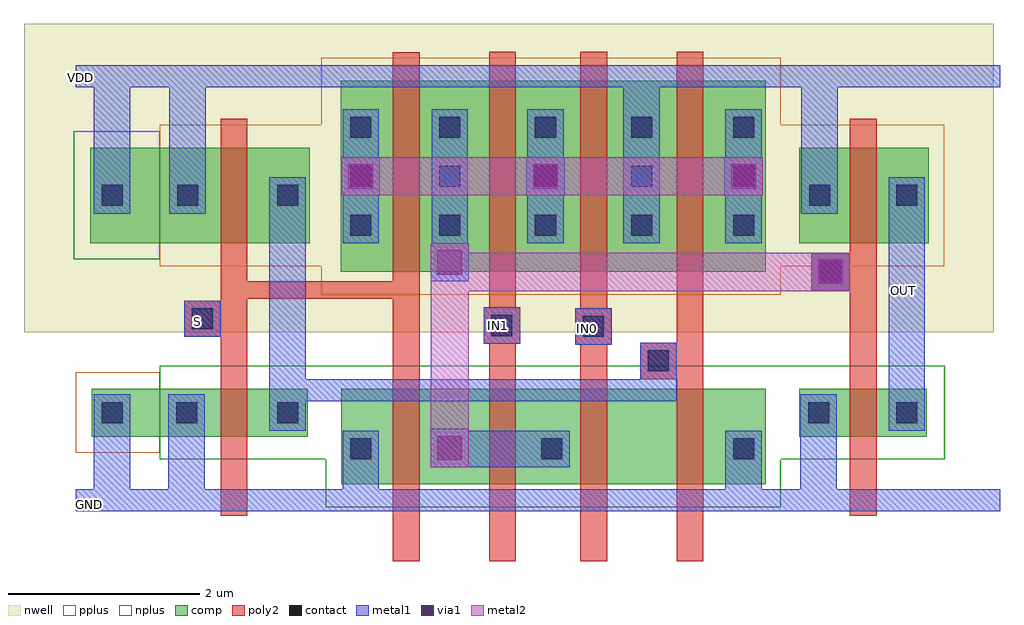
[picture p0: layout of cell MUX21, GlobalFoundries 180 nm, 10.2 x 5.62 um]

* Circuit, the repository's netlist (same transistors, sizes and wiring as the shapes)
** sch_path: /foss/designs/ENGN1600-CAD4/MUX21.sch
.subckt MUX21 IN0 S OUT IN1
*.PININFO OUT:O IN0:I IN1:I S:I
M3 net1 IN1 net2 vdd pfet_03v3 L=0.28u W=2u nf=1 m=1
M4 net2 IN0 vdd vdd pfet_03v3 L=0.28u W=2u nf=1 m=1
M1 net1 IN0 net3 GND nfet_03v3 L=0.28u W=1u nf=1 m=1
M2 net3 Sb GND GND nfet_03v3 L=0.28u W=1u nf=1 m=1
M5 net1 S net2 vdd pfet_03v3 L=0.28u W=2u nf=1 m=1
M6 net2 Sb vdd vdd pfet_03v3 L=0.28u W=2u nf=1 m=1
M7 net1 IN1 net4 GND nfet_03v3 L=0.28u W=1u nf=1 m=1
M8 net4 S GND GND nfet_03v3 L=0.28u W=1u nf=1 m=1
x3 Sb S INV
x4 OUT net1 INV
.ends

* expanding   symbol:  INV.sym # of pins=2
** sym_path: /foss/designs/ENGN1600-CAD4/INV.sym
** sch_path: /foss/designs/ENGN1600-CAD4/INV.sch
.subckt INV OUT IN
*.PININFO IN:I OUT:O
M1 OUT IN VDD VDD pfet_03v3 L=0.28u W=1u nf=1 m=1
M2 OUT IN GND GND nfet_03v3 L=0.28u W=0.5u nf=1 m=1
.ends

.GLOBAL vdd
.GLOBAL GND
.GLOBAL VDD

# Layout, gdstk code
from math import pi, radians
import gdstk
lib = gdstk.Library(unit=1e-6, precision=5e-09)
def R(c, l, rs):  # rectangles x0, y0, x1, y1
    for r in rs: c.add(gdstk.rectangle(r[:2], r[2:], *l))
def A(c, l, x, y, w, h, nx, ny, dx, dy):  # array of equal rectangles
    R(c, l, [(x+i*dx, y+j*dy, x+i*dx+w, y+j*dy+h) for i in range(nx) for j in range(ny)])
nwell = (21, 0)
comp = (22, 0)
poly2 = (30, 0)
pplus = (31, 0)
nplus = (32, 0)
contact = (33, 0)
metal1 = (34, 0)
via1 = (35, 0)
metal2 = (36, 0)

via_dev = lib.new_cell('via_dev')
R(via_dev, metal1, [(0,0,0.4,0.4)])
R(via_dev, via1, [(0.07,0.07,0.33,0.33)])
R(via_dev, metal2, [(0,0,0.4,0.4)])

via_dev_1 = lib.new_cell('via_dev$1')
R(via_dev_1, poly2, [(0,0,0.4,0.4)])
R(via_dev_1, contact, [(0.09,0.09,0.31,0.31)])
R(via_dev_1, metal1, [(0,0,0.4,0.4)])
R(via_dev_1, via1, [(0.07,0.07,0.33,0.33)])
R(via_dev_1, metal2, [(0,0,0.4,0.4)])

mux21 = lib.new_cell('MUX21')
R(mux21, nwell, [(-1.55,1.405,8.585,4.63)])
R(mux21, comp, [(1.765,-0.185,2.18,0.815), (2.18,-0.185,2.635,0.815), (2.635,-0.185,3.055,0.815), (3.055,-0.185,3.755,0.815), (3.545,-0.185,4.195,0.815), (4.195,-0.185,4.645,0.815), (4.645,-0.185,5.065,0.815), (5.065,-0.185,5.76,0.815), (5.76,-0.185,6.2,0.815), (-0.84,0.315,-0.13,0.815), (-0.13,0.315,0.36,0.815), (0.36,0.315,0.995,0.815), (0.995,0.315,1.415,0.815), (6.55,0.315,6.965,0.815), (6.965,0.315,7.465,0.815), (7.465,0.315,7.885,0.815), (1.76,2.035,2.2,4.035), (2.2,2.035,2.67,4.035), (2.67,2.035,3.13,4.035), (3.13,2.035,3.665,4.035), (3.665,2.035,4.155,4.035), (4.155,2.035,4.675,4.035), (4.675,2.035,5.135,4.035), (4.675,2.035,5.135,4.035), (5.135,2.035,5.74,4.035), (5.74,2.035,6.2,4.035), (-0.86,2.335,-0.13,3.335), (-0.13,2.335,0.39,3.335), (0.39,2.335,0.975,3.335), (0.975,2.335,1.435,3.335), (6.55,2.335,6.995,3.335), (6.995,2.335,7.445,3.335), (7.445,2.335,7.905,3.335)])
R(mux21, poly2, [(2.305,-0.99,2.585,4.33), (3.31,-0.99,3.59,4.335), (4.265,-0.99,4.545,4.335), (5.27,-0.99,5.55,4.335), (0.505,-0.515,0.785,3.635), (7.08,-0.515,7.36,3.635), (4.89,0.915,5.27,1.295), (4.21,1.275,4.59,1.655), (3.255,1.285,3.635,1.665), (0.125,1.355,0.505,1.735), (0.785,1.755,2.305,1.935)])
R(mux21, pplus, [(-1.01,0.145,-0.13,0.985), (1.555,1.795,6.36,4.275), (-0.13,2.095,1.555,3.575), (6.36,2.095,8.065,3.575)])
R(mux21, nplus, [(1.605,-0.425,6.36,1.055), (-0.13,0.075,1.605,1.055), (6.36,0.075,8.075,1.055), (-1.03,2.165,-0.13,3.505)])
A(mux21, contact, 1.86, 2.415, 0.22, 0.22, 1, 3, 0, 0.51)
A(mux21, contact, 2.79, 2.415, 0.22, 0.22, 1, 3, 0, 0.51)
A(mux21, contact, 3.79, 2.415, 0.22, 0.22, 1, 3, 0, 0.51)
A(mux21, contact, 4.795, 2.415, 0.22, 0.22, 1, 3, 0, 0.51)
A(mux21, contact, 5.86, 2.415, 0.22, 0.22, 1, 3, 0, 0.51)
R(mux21, contact, [(1.86,0.075,2.08,0.295), (3.855,0.075,4.075,0.295), (5.86,0.075,6.08,0.295), (-0.74,0.455,-0.52,0.675), (0.04,0.455,0.26,0.675), (1.095,0.455,1.315,0.675), (6.645,0.455,6.865,0.675), (7.565,0.455,7.785,0.675), (4.97,0.995,5.19,1.215), (4.29,1.355,4.51,1.575), (3.335,1.365,3.555,1.585), (0.205,1.435,0.425,1.655), (-0.74,2.725,-0.52,2.945), (0.05,2.725,0.27,2.945), (1.095,2.725,1.315,2.945), (6.655,2.725,6.875,2.945), (7.565,2.725,7.785,2.945)])
R(mux21, metal1, [(-1.01,-0.465,-0.05,-0.235), (-0.05,-0.465,8.65,-0.235), (-0.82,-0.235,-0.44,0.375), (-0.04,-0.235,0.34,0.375), (1.78,-0.235,2.16,-0.005), (5.78,-0.235,6.16,-0.005), (6.565,-0.235,6.945,0.375), (1.78,-0.005,2.16,0.375), (3.1,-0.005,3.775,0.375), (3.775,-0.005,4.155,0.375), (5.78,-0.005,6.16,0.375), (-0.82,0.375,-0.44,0.755), (-0.04,0.375,0.34,0.755), (1.015,0.375,1.395,0.755), (6.565,0.375,6.945,0.755), (7.485,0.375,7.865,0.755), (1.395,0.685,5.27,0.915), (1.015,0.755,1.395,2.645), (7.485,0.755,7.865,2.645), (4.89,0.915,5.27,1.295), (4.21,1.275,4.59,1.655), (3.255,1.285,3.635,1.665), (0.125,1.355,0.505,1.735), (1.78,2.335,2.16,3.735), (2.71,2.335,3.09,3.735), (3.71,2.335,4.09,3.735), (4.715,2.335,5.095,3.735), (5.78,2.335,6.16,3.735), (-0.82,2.645,-0.44,3.025), (-0.03,2.645,0.35,3.025), (1.015,2.645,1.395,3.025), (6.575,2.645,6.955,3.025), (7.485,2.645,7.865,3.025), (-0.82,3.025,-0.44,3.965), (-0.03,3.025,0.35,3.965), (6.575,3.025,6.955,3.965), (4.715,3.735,5.095,3.965), (-1.01,3.965,-0.13,4.195), (-0.13,3.965,8.65,4.195)])
R(mux21, metal2, [(2.7,0.395,3.1,1.935), (3.1,1.835,6.68,2.235), (2.17,2.835,5.77,3.235)])
mux21.add(gdstk.Reference(via_dev, (5.77,2.835)))
mux21.add(gdstk.Reference(via_dev, (3.7,2.835)))
mux21.add(gdstk.Reference(via_dev, (1.77,2.835)))
mux21.add(gdstk.Reference(via_dev, (3.1,-0.005), rotation=pi, x_reflection=True))
mux21.add(gdstk.Reference(via_dev, (3.1,1.935), rotation=pi, x_reflection=True))
mux21.add(gdstk.Reference(via_dev_1, (6.68,1.835)))
mux21.add(gdstk.Label('GND', (-0.87,-0.395), layer=34, texttype=10))
mux21.add(gdstk.Label('S', (0.26,1.515), layer=34, texttype=10))
mux21.add(gdstk.Label('VDD', (-0.96,4.065), layer=34, texttype=10))
mux21.add(gdstk.Label('IN1', (3.41,1.475), layer=34, texttype=10))
mux21.add(gdstk.Label('IN0', (4.34,1.44), layer=34, texttype=10))
mux21.add(gdstk.Label('OUT', (7.64,1.845), layer=34, texttype=10))

lib.write_gds('MUX21.gds')
